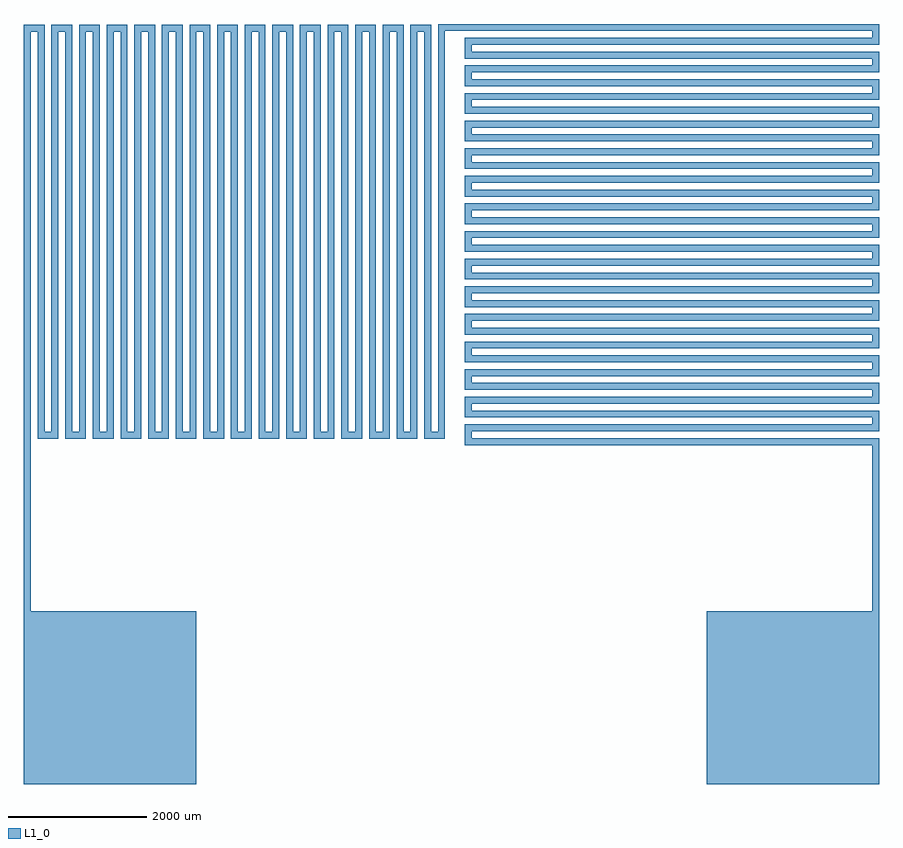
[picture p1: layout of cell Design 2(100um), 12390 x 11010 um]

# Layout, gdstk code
from math import pi, radians
import gdstk
lib = gdstk.Library(unit=1e-6, precision=1e-09)
def R(c, l, rs):  # rectangles x0, y0, x1, y1
    for r in rs: c.add(gdstk.rectangle(r[:2], r[2:], *l))
def P(c, l, *ps):  # polygons
    for p in ps: c.add(gdstk.Polygon(p, *l))
L1_0 = (1, 0)

connector_to_pad1 = lib.new_cell('connector to pad1')
P(connector_to_pad1, L1_0, [(-3017,375),(-3117,375),(-3117,175),(2883,175),(2883,275),(-3017,275)])

connector_between_the_se = lib.new_cell('connector between the sensing units1')
P(connector_between_the_se, L1_0, [(-450,3110),(-850,3110),(-850,-2800),(-950,-2800),(-950,-2900),(-750,-2900),(-750,3010),(-450,3010)])

connector_100um = lib.new_cell('connector 100um')
R(connector_100um, L1_0, [(-25,-25,75,75)])

interdigitated_electrode = lib.new_cell('Interdigitated electrode 100um')
R(interdigitated_electrode, L1_0, [(-25,4500,75,10500)])

sensing_unit_4 = lib.new_cell('sensing unit 4')
r = gdstk.Reference(connector_100um, (300,4525)); r.repetition = gdstk.Repetition(14, 2, v1=(400,0), v2=(0,0)); sensing_unit_4.add(r)
r = gdstk.Reference(connector_100um, (100,10425)); r.repetition = gdstk.Repetition(15, 2, v1=(400,0), v2=(0,0)); sensing_unit_4.add(r)
r = gdstk.Reference(interdigitated_electrode, (0,0)); r.repetition = gdstk.Repetition(30, 2, v1=(200,0), v2=(0,0)); sensing_unit_4.add(r)

design_2_100um_ = lib.new_cell('Design 2(100um)')
R(design_2_100um_, L1_0, [(-900,7200,-800,13200)])
P(design_2_100um_, L1_0, [(-900,7210),(-900,2200),(1595,2200),(1595,4700),(-800,4700),(-800,7201)],
  [(11390,7114),(11390,4700),(8990,4700),(8990,2200),(11490,2200),(11490,7114)])
design_2_100um_.add(gdstk.Reference(connector_to_pad1, (8607,6933)))
design_2_100um_.add(gdstk.Reference(connector_between_the_se, (5950,10100)))
design_2_100um_.add(gdstk.Reference(sensing_unit_4, (990,13185), rotation=3*pi/2))
design_2_100um_.add(gdstk.Reference(interdigitated_electrode, (4925,2700)))
design_2_100um_.add(gdstk.Reference(interdigitated_electrode, (4925,2700)))
design_2_100um_.add(gdstk.Reference(interdigitated_electrode, (4725,2700)))
design_2_100um_.add(gdstk.Reference(interdigitated_electrode, (4725,2700)))
design_2_100um_.add(gdstk.Reference(interdigitated_electrode, (4525,2700)))
design_2_100um_.add(gdstk.Reference(interdigitated_electrode, (4525,2700)))
design_2_100um_.add(gdstk.Reference(interdigitated_electrode, (4325,2700)))
design_2_100um_.add(gdstk.Reference(interdigitated_electrode, (4325,2700)))
design_2_100um_.add(gdstk.Reference(interdigitated_electrode, (4125,2700)))
design_2_100um_.add(gdstk.Reference(interdigitated_electrode, (4125,2700)))
design_2_100um_.add(gdstk.Reference(interdigitated_electrode, (3925,2700)))
design_2_100um_.add(gdstk.Reference(interdigitated_electrode, (3925,2700)))
design_2_100um_.add(gdstk.Reference(interdigitated_electrode, (3725,2700)))
design_2_100um_.add(gdstk.Reference(interdigitated_electrode, (3725,2700)))
design_2_100um_.add(gdstk.Reference(interdigitated_electrode, (3525,2700)))
design_2_100um_.add(gdstk.Reference(interdigitated_electrode, (3525,2700)))
design_2_100um_.add(gdstk.Reference(interdigitated_electrode, (3325,2700)))
design_2_100um_.add(gdstk.Reference(interdigitated_electrode, (3325,2700)))
design_2_100um_.add(gdstk.Reference(interdigitated_electrode, (3125,2700)))
design_2_100um_.add(gdstk.Reference(interdigitated_electrode, (3125,2700)))
design_2_100um_.add(gdstk.Reference(interdigitated_electrode, (2925,2700)))
design_2_100um_.add(gdstk.Reference(interdigitated_electrode, (2925,2700)))
design_2_100um_.add(gdstk.Reference(interdigitated_electrode, (2725,2700)))
design_2_100um_.add(gdstk.Reference(interdigitated_electrode, (2725,2700)))
design_2_100um_.add(gdstk.Reference(interdigitated_electrode, (2525,2700)))
design_2_100um_.add(gdstk.Reference(interdigitated_electrode, (2525,2700)))
design_2_100um_.add(gdstk.Reference(interdigitated_electrode, (2325,2700)))
design_2_100um_.add(gdstk.Reference(interdigitated_electrode, (2325,2700)))
design_2_100um_.add(gdstk.Reference(interdigitated_electrode, (2125,2700)))
design_2_100um_.add(gdstk.Reference(interdigitated_electrode, (2125,2700)))
design_2_100um_.add(gdstk.Reference(interdigitated_electrode, (1925,2700)))
design_2_100um_.add(gdstk.Reference(interdigitated_electrode, (1925,2700)))
design_2_100um_.add(gdstk.Reference(interdigitated_electrode, (1725,2700)))
design_2_100um_.add(gdstk.Reference(interdigitated_electrode, (1725,2700)))
design_2_100um_.add(gdstk.Reference(interdigitated_electrode, (1525,2700)))
design_2_100um_.add(gdstk.Reference(interdigitated_electrode, (1525,2700)))
design_2_100um_.add(gdstk.Reference(interdigitated_electrode, (1325,2700)))
design_2_100um_.add(gdstk.Reference(interdigitated_electrode, (1325,2700)))
design_2_100um_.add(gdstk.Reference(interdigitated_electrode, (1125,2700)))
design_2_100um_.add(gdstk.Reference(interdigitated_electrode, (1125,2700)))
design_2_100um_.add(gdstk.Reference(interdigitated_electrode, (925,2700)))
design_2_100um_.add(gdstk.Reference(interdigitated_electrode, (925,2700)))
design_2_100um_.add(gdstk.Reference(interdigitated_electrode, (725,2700)))
design_2_100um_.add(gdstk.Reference(interdigitated_electrode, (725,2700)))
design_2_100um_.add(gdstk.Reference(interdigitated_electrode, (525,2700)))
design_2_100um_.add(gdstk.Reference(interdigitated_electrode, (525,2700)))
design_2_100um_.add(gdstk.Reference(interdigitated_electrode, (325,2700)))
design_2_100um_.add(gdstk.Reference(interdigitated_electrode, (325,2700)))
design_2_100um_.add(gdstk.Reference(interdigitated_electrode, (125,2700)))
design_2_100um_.add(gdstk.Reference(interdigitated_electrode, (125,2700)))
design_2_100um_.add(gdstk.Reference(interdigitated_electrode, (-75,2700)))
design_2_100um_.add(gdstk.Reference(interdigitated_electrode, (-75,2700)))
design_2_100um_.add(gdstk.Reference(interdigitated_electrode, (-275,2700)))
design_2_100um_.add(gdstk.Reference(interdigitated_electrode, (-275,2700)))
design_2_100um_.add(gdstk.Reference(interdigitated_electrode, (-475,2700)))
design_2_100um_.add(gdstk.Reference(interdigitated_electrode, (-475,2700)))
design_2_100um_.add(gdstk.Reference(interdigitated_electrode, (-675,2700)))
design_2_100um_.add(gdstk.Reference(interdigitated_electrode, (-675,2700)))
r = gdstk.Reference(connector_100um, (-775,13125)); r.repetition = gdstk.Repetition(15, 2, v1=(400,0), v2=(0,0)); design_2_100um_.add(r)
r = gdstk.Reference(connector_100um, (-575,7225)); r.repetition = gdstk.Repetition(14, 2, v1=(400,0), v2=(0,0)); design_2_100um_.add(r)

lib.write_gds('Design_2_100um_.gds')
